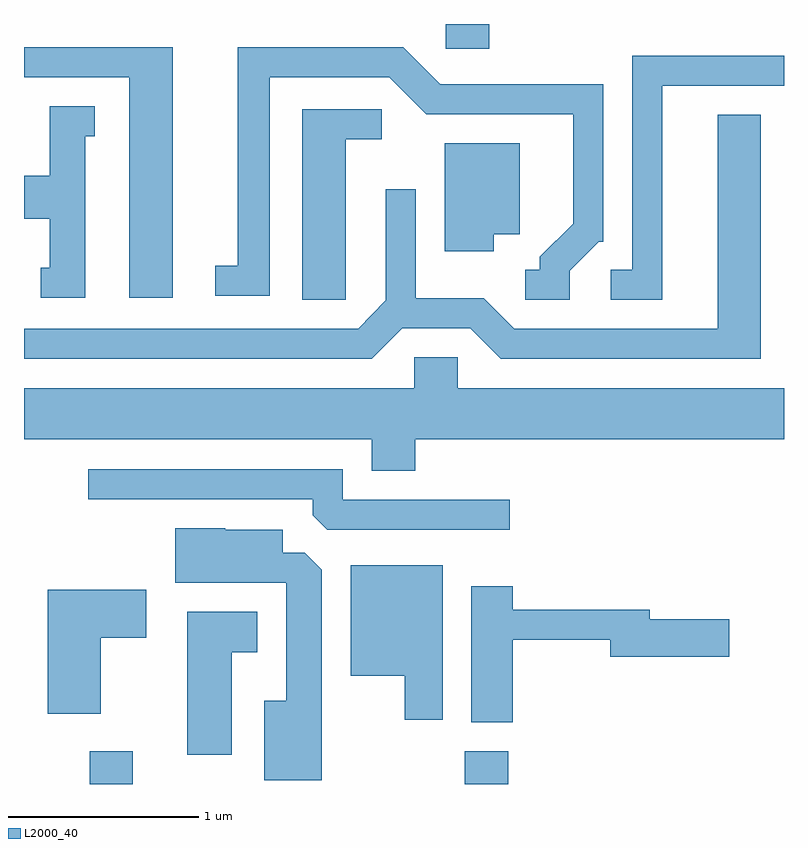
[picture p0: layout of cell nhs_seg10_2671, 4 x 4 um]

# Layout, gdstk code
import gdstk
lib = gdstk.Library(unit=1e-6, precision=1e-09)
def R(c, l, rs):  # rectangles x0, y0, x1, y1
    for r in rs: c.add(gdstk.rectangle(r[:2], r[2:], *l))
def P(c, l, *ps):  # polygons
    for p in ps: c.add(gdstk.Polygon(p, *l))
L2000_40 = (2000, 40)

nhs_seg10_2671 = lib.new_cell('nhs_seg10_2671')
R(nhs_seg10_2671, L2000_40, [(263.956,2136.522,264.184,2136.694), (265.931,2136.522,266.159,2136.694), (265.831,2140.391,266.059,2140.522)])
P(nhs_seg10_2671, L2000_40, [(266.484,2139.224),(266.637,2139.376),(266.659,2139.376),(266.659,2140.204),(265.802,2140.204),(265.607,2140.399),(264.736,2140.399),(264.736,2139.249),(264.618,2139.249),(264.618,2139.091),(264.904,2139.091),(264.904,2140.241),(265.534,2140.241),(265.729,2140.046),(266.501,2140.046),(266.501,2139.472),(266.326,2139.297),(266.326,2139.229),(266.248,2139.229),(266.248,2139.071),(266.484,2139.071)],
  [(264.394,2140.399),(263.611,2140.399),(263.611,2140.241),(264.166,2140.241),(264.166,2139.081),(264.394,2139.081)],
  [(266.969,2140.196),(267.611,2140.196),(267.611,2140.354),(266.811,2140.354),(266.811,2139.229),(266.698,2139.229),(266.698,2139.071),(266.969,2139.071)],
  [(263.934,2139.931),(263.983,2139.931),(263.983,2140.089),(263.746,2140.089),(263.746,2139.724),(263.611,2139.724),(263.611,2139.496),(263.746,2139.496),(263.746,2139.239),(263.698,2139.239),(263.698,2139.081),(263.934,2139.081)],
  [(265.304,2139.916),(265.493,2139.916),(265.493,2140.074),(265.076,2140.074),(265.076,2139.071),(265.304,2139.071)],
  [(265.602,2138.921),(265.959,2138.921),(266.119,2138.761),(267.489,2138.761),(267.489,2140.044),(267.261,2140.044),(267.261,2138.919),(266.192,2138.919),(266.032,2139.079),(265.674,2139.079),(265.674,2139.653),(265.516,2139.653),(265.516,2139.067),(265.369,2138.919),(263.611,2138.919),(263.611,2138.761),(265.442,2138.761)],
  [(266.084,2139.416),(266.219,2139.416),(266.219,2139.894),(265.826,2139.894),(265.826,2139.326),(266.084,2139.326)],
  [(265.669,2138.336),(267.611,2138.336),(267.611,2138.604),(265.894,2138.604),(265.894,2138.769),(265.666,2138.769),(265.666,2138.604),(263.611,2138.604),(263.611,2138.336),(265.441,2138.336),(265.441,2138.171),(265.669,2138.171)],
  [(266.168,2138.019),(265.289,2138.019),(265.289,2138.179),(263.948,2138.179),(263.948,2138.021),(265.131,2138.021),(265.131,2137.937),(265.207,2137.861),(266.168,2137.861)],
  [(265.179,2137.649),(265.089,2137.739),(264.974,2137.739),(264.974,2137.859),(264.67,2137.859),(264.67,2137.869),(264.406,2137.869),(264.406,2137.581),(264.991,2137.581),(264.991,2136.959),(264.876,2136.959),(264.876,2136.541),(265.179,2136.541)],
  [(265.814,2137.674),(265.331,2137.674),(265.331,2137.091),(265.616,2137.091),(265.616,2136.861),(265.814,2136.861)],
  [(266.184,2137.281),(266.696,2137.281),(266.696,2137.191),(267.324,2137.191),(267.324,2137.389),(266.904,2137.389),(266.904,2137.439),(266.184,2137.439),(266.184,2137.564),(265.966,2137.564),(265.966,2136.846),(266.184,2136.846)],
  [(264.014,2137.291),(264.254,2137.291),(264.254,2137.544),(263.736,2137.544),(263.736,2136.891),(264.014,2136.891)],
  [(264.704,2137.216),(264.839,2137.216),(264.839,2137.429),(264.471,2137.429),(264.471,2136.676),(264.704,2136.676)])

lib.write_gds('nhs_seg10_2671.gds')
